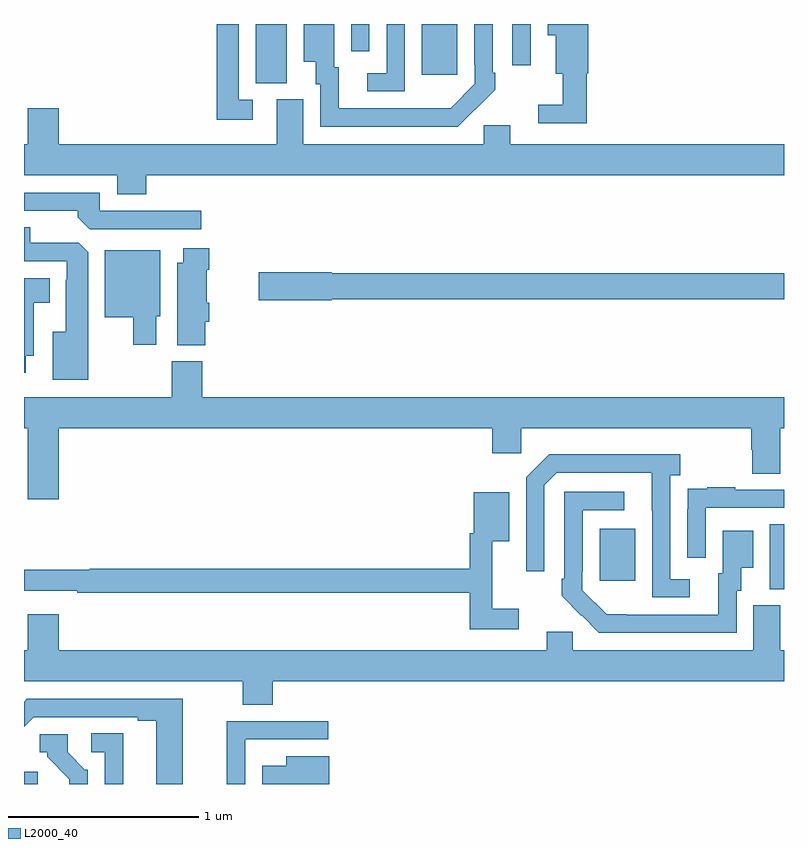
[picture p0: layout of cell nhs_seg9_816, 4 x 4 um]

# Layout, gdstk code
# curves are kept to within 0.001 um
import gdstk
lib = gdstk.Library(unit=1e-6, precision=1e-09)
def R(c, l, rs):  # rectangles x0, y0, x1, y1
    for r in rs: c.add(gdstk.rectangle(r[:2], r[2:], *l))
def P(c, l, *ps):  # polygons
    for p in ps: c.add(gdstk.Polygon(p, *l))
L2000_40 = (2000, 40)

nhs_seg9_816 = lib.new_cell('nhs_seg9_816')
R(nhs_seg9_816, L2000_40, [(153,1242.5,153.073,1242.565), (156.926,1243.525,157,1243.868), (156.029,1243.569,156.217,1243.843), (154.22,1246.189,154.384,1246.5), (155.093,1246.233,155.281,1246.5), (155.571,1246.284,155.667,1246.5), (154.722,1246.356,154.818,1246.5)])
P(nhs_seg9_816, L2000_40, [(155.004,1246.5),(154.908,1246.5),(154.908,1246.242),(154.806,1246.242),(154.806,1246.146),(155.004,1246.146)],
  [(154.204,1246.101),(154.131,1246.101),(154.131,1246.5),(154.015,1246.5),(154.015,1245.996),(154.204,1245.996)],
  [(155.963,1246.242),(155.969,1246.242),(155.969,1246.5),(155.756,1246.5),(155.756,1246.442),(155.798,1246.442),(155.798,1246.238),(155.835,1246.238),(155.835,1246.075),(155.706,1246.075),(155.706,1245.978),(155.963,1245.978)],
  [(155.375,1246.051),(155.376,1246.05),(155.481,1246.155),(155.481,1246.243),(155.466,1246.243),(155.466,1246.5),(155.37,1246.5),(155.37,1246.285),(155.373,1246.285),(155.373,1246.185),(155.245,1246.057),(155.141,1246.056),(154.657,1246.056),(154.657,1246.272),(154.633,1246.272),(154.633,1246.498),(154.472,1246.498),(154.472,1246.301),(154.535,1246.301),(154.535,1246.182),(154.56,1246.182),(154.56,1245.96),(155.284,1245.96)],
  [(153.644,1245.704),(157,1245.704),(157,1245.868),(155.56,1245.868),(155.56,1245.966),(155.421,1245.966),(155.421,1245.868),(154.471,1245.868),(154.471,1246.104),(154.331,1246.104),(154.331,1245.868),(153.184,1245.868),(153.184,1246.057),(153.02,1246.057),(153.02,1245.868),(153,1245.868),(153,1245.704),(153.491,1245.704),(153.491,1245.605),(153.644,1245.605)],
  [(153.934,1245.516),(153.399,1245.516),(153.399,1245.612),(153,1245.612),(153,1245.516),(153.284,1245.516),(153.284,1245.482),(153.345,1245.42),(153.934,1245.42)],
  [(153.337,1245.299),(153.288,1245.348),(153.034,1245.348),(153.034,1245.431),(153,1245.431),(153,1245.252),(153.225,1245.252),(153.225,1245.155),(153.221,1245.155),(153.221,1244.881),(153.152,1244.881),(153.152,1244.627),(153.337,1244.627)],
  [(153.953,1244.934),(153.974,1244.934),(153.974,1245.034),(153.961,1245.034),(153.961,1245.206),(153.974,1245.206),(153.974,1245.319),(153.839,1245.319),(153.839,1245.244),(153.806,1245.244),(153.806,1244.809),(153.953,1244.809)],
  [(153.697,1244.961),(153.718,1244.961),(153.718,1245.31),(153.425,1245.31),(153.425,1244.957),(153.575,1244.957),(153.575,1244.811),(153.697,1244.811)],
  [(154.62,1245.052),(157,1245.052),(157,1245.188),(154.62,1245.188),(154.62,1245.194),(154.236,1245.194),(154.236,1245.047),(154.62,1245.047)],
  [(153.01,1244.753),(153.052,1244.753),(153.052,1245.032),(153.136,1245.032),(153.136,1245.163),(153,1245.163),(153,1244.664),(153.01,1244.664)],
  [(153.184,1244.372),(155.465,1244.372),(155.465,1244.241),(155.616,1244.241),(155.616,1244.372),(156.827,1244.372),(156.827,1244.259),(156.832,1244.259),(156.832,1244.134),(156.979,1244.134),(156.979,1244.372),(157,1244.372),(157,1244.536),(153.938,1244.536),(153.938,1244.724),(153.778,1244.724),(153.778,1244.536),(153,1244.536),(153,1244.372),(153.02,1244.372),(153.02,1243.998),(153.184,1243.998)],
  [(156.505,1243.578),(156.402,1243.578),(156.402,1244.126),(156.454,1244.126),(156.454,1244.236),(155.764,1244.236),(155.643,1244.115),(155.643,1243.62),(155.739,1243.62),(155.739,1244.073),(155.805,1244.139),(156.305,1244.139),(156.306,1243.482),(156.505,1243.482)],
  [(156.588,1243.953),(157,1243.953),(157,1244.049),(156.743,1244.049),(156.743,1244.062),(156.595,1244.062),(156.595,1244.055),(156.493,1244.055),(156.493,1243.946),(156.492,1243.946),(156.492,1243.692),(156.588,1243.692)],
  [(156.75,1243.518),(156.775,1243.518),(156.775,1243.637),(156.838,1243.637),(156.838,1243.834),(156.677,1243.834),(156.677,1243.608),(156.653,1243.608),(156.653,1243.392),(156.066,1243.393),(155.937,1243.521),(155.937,1243.621),(155.94,1243.621),(155.94,1243.941),(156.16,1243.941),(156.16,1244.037),(155.844,1244.037),(155.844,1243.579),(155.829,1243.579),(155.829,1243.491),(156.026,1243.296),(156.75,1243.296)],
  [(155.605,1243.423),(155.465,1243.423),(155.465,1243.778),(155.554,1243.778),(155.554,1244.035),(155.366,1244.035),(155.366,1243.821),(155.347,1243.821),(155.347,1243.634),(153.347,1243.634),(153.347,1243.627),(153,1243.627),(153,1243.518),(153.28,1243.518),(153.28,1243.506),(155.347,1243.506),(155.347,1243.314),(155.605,1243.314)],
  [(154.31,1243.04),(157,1243.04),(157,1243.204),(156.979,1243.204),(156.979,1243.44),(156.839,1243.44),(156.839,1243.204),(155.889,1243.204),(155.889,1243.302),(155.75,1243.302),(155.75,1243.204),(153.184,1243.204),(153.184,1243.393),(153.02,1243.393),(153.02,1243.204),(153,1243.204),(153,1243.04),(154.15,1243.04),(154.15,1242.916),(154.31,1242.916)],
  [(153.835,1242.948),(153.015,1242.948),(153,1242.933),(153,1242.801),(153.051,1242.852),(153.599,1242.852),(153.599,1242.832),(153.695,1242.832),(153.695,1242.5),(153.835,1242.5)],
  [(154.164,1242.734),(154.166,1242.734),(154.166,1242.735),(154.6,1242.735),(154.6,1242.831),(154.066,1242.831),(154.066,1242.5),(154.164,1242.5)],
  [(153.523,1242.767),(153.354,1242.767),(153.354,1242.666),(153.426,1242.666),(153.426,1242.5),(153.523,1242.5)],
  [(153.336,1242.576),(153.321,1242.576),(153.231,1242.666),(153.231,1242.762),(153.084,1242.762),(153.084,1242.666),(153.123,1242.666),(153.123,1242.643),(153.239,1242.526),(153.239,1242.5),(153.336,1242.5)],
  [(154.606,1242.646),(154.379,1242.646),(154.379,1242.595),(154.254,1242.595),(154.254,1242.5),(154.606,1242.5)])

lib.write_gds('nhs_seg9_816.gds')
